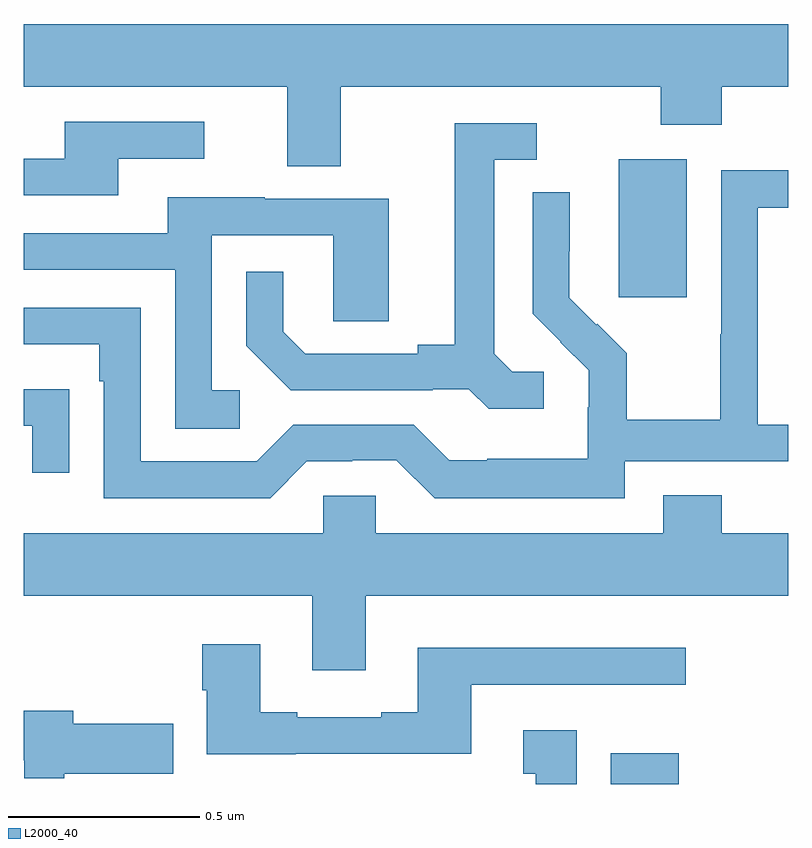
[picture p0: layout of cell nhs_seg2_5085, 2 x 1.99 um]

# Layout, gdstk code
import gdstk
lib = gdstk.Library(unit=1e-6, precision=1e-09)
def R(c, l, rs):  # rectangles x0, y0, x1, y1
    for r in rs: c.add(gdstk.rectangle(r[:2], r[2:], *l))
def P(c, l, *ps):  # polygons
    for p in ps: c.add(gdstk.Polygon(p, *l))
L2000_40 = (2000, 40)

nhs_seg2_5085 = lib.new_cell('nhs_seg2_5085')
R(nhs_seg2_5085, L2000_40, [(175.535,657.8,175.714,657.88), (175.556,659.073,175.735,659.434)])
P(nhs_seg2_5085, L2000_40, [(174.829,659.624),(175.666,659.624),(175.666,659.525),(175.826,659.525),(175.826,659.624),(176,659.624),(176,659.788),(174,659.788),(174,659.624),(174.689,659.624),(174.689,659.416),(174.829,659.416)],
  [(174.247,659.436),(174.472,659.436),(174.472,659.532),(174.107,659.532),(174.107,659.436),(174,659.436),(174,659.34),(174.247,659.34)],
  [(175.36,658.878),(175.278,658.878),(175.231,658.925),(175.231,659.433),(175.342,659.433),(175.342,659.529),(175.127,659.529),(175.127,658.949),(175.031,658.949),(175.031,658.926),(174.736,658.926),(174.679,658.983),(174.679,659.14),(174.582,659.14),(174.582,658.946),(174.698,658.83),(175.07,658.83),(175.07,658.833),(175.164,658.833),(175.216,658.781),(175.36,658.781)],
  [(175.572,658.644),(176,658.644),(176,658.74),(175.92,658.74),(175.92,659.307),(176,659.307),(176,659.406),(175.824,659.406),(175.824,658.976),(175.822,658.976),(175.822,658.753),(175.577,658.753),(175.577,658.927),(175.5,659.004),(175.497,659.001),(175.427,659.072),(175.427,659.194),(175.428,659.194),(175.428,659.348),(175.332,659.348),(175.332,659.03),(175.405,658.957),(175.404,658.956),(175.478,658.882),(175.478,658.785),(175.476,658.785),(175.476,658.651),(175.213,658.651),(175.213,658.647),(175.113,658.647),(175.02,658.74),(174.705,658.74),(174.609,658.644),(174.306,658.644),(174.306,659.046),(174,659.046),(174,658.95),(174.197,658.95),(174.197,658.853),(174.21,658.853),(174.21,658.548),(174.645,658.548),(174.741,658.644),(174.86,658.644),(174.86,658.647),(174.975,658.647),(175.075,658.547),(175.572,658.547)],
  [(174.565,658.83),(174.492,658.83),(174.492,659.235),(174.81,659.235),(174.81,659.011),(174.955,659.011),(174.955,659.331),(174.631,659.331),(174.631,659.335),(174.377,659.335),(174.377,659.241),(174,659.241),(174,659.145),(174.396,659.145),(174.396,658.729),(174.565,658.729)],
  [(174.119,658.832),(174.017,658.832),(174.017,658.833),(174,658.833),(174,658.737),(174.023,658.737),(174.023,658.614),(174.119,658.614)],
  [(174.895,658.292),(176,658.292),(176,658.456),(175.826,658.456),(175.826,658.555),(175.673,658.555),(175.673,658.456),(174.921,658.456),(174.921,658.554),(174.783,658.554),(174.783,658.456),(174,658.456),(174,658.292),(174.755,658.292),(174.755,658.098),(174.895,658.098)],
  [(174.711,657.879),(175.171,657.879),(175.171,658.059),(175.732,658.059),(175.732,658.156),(175.031,658.156),(175.031,657.988),(174.935,657.988),(174.935,657.975),(174.715,657.975),(174.715,657.988),(174.619,657.988),(174.619,658.165),(174.467,658.165),(174.467,658.045),(174.479,658.045),(174.479,657.878),(174.711,657.878)],
  [(174.106,657.827),(174.391,657.827),(174.391,657.957),(174.13,657.957),(174.13,657.991),(174,657.991),(174,657.862),(174.002,657.862),(174.002,657.815),(174.106,657.815)],
  [(175.447,657.94),(175.307,657.94),(175.307,657.827),(175.34,657.827),(175.34,657.8),(175.447,657.8)])

lib.write_gds('nhs_seg2_5085.gds')
